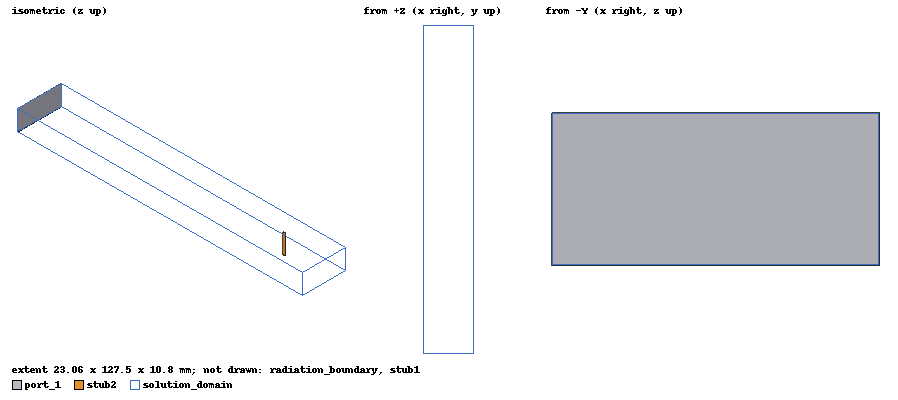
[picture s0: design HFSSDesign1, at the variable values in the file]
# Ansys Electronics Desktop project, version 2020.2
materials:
  vacuum: permittivity=1
  copper: permeability=0.999991 conductivity=58000000
  pec: conductivity=1e+30

design HFSSDesign1 (HFSS, DrivenModal, model units mm)
options: Allow_Material_Override
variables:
  w2 = 0.0106
  w = 0.02286
  t = 0.0001
  l = 0.04
  i = 0.0023
  a = 0.041
  w3 = 0.0419
  w4 = 0.044
  b = 2
  l2 = 0.150-((l+2*t)/2+t/2)
  q = 0.007
  d = -0.017  # tune -0.02496..-0.00832
  dist = 0  # tune 0.0005..0.0015
  q2 = q-dist
  d2 = d-dist
  q1 = 0.00225  # tune 0.00225..0.00675
  q11 = 0.0015  # tune 0.0005..0.0015
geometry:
  Box1 = box(corner=(-w/2-t, -l/2-t-l2, -w2/2-t), size=(w+2*t, (l+2*t)/2+t/2+l2, w2+2*t))
  Box2 = box(corner=(-w/2, -l/2-t-l2, -w2/2), size=(w, l+2*t+l2, w2))
  Box1.subtract(Box2)
  iris_up = box(corner=(-w/2, -t/2, w2/2-i), size=(w, t, i))
  iris_down = box(corner=(-w/2, -t/2, -w2/2), size=(w, t, i))
  solution_domain [vacuum] = box(corner=(-w/2, -l/2-t-l2, -w2/2), size=(w, (l/2+t)+(t/2+t)+l2, w2))
  port_1 [pec] = box(corner=(-w/2-t, -l/2-t-t-l2, -w2/2-t), size=(w+2*t, t, w2+2*t))
  outer_flenge = box(corner=(-w3/2, t/2, -w4/2), size=(w3, t, w4))
  inner_flenge = box(corner=(-w/2, t/2, -(w2-2*i)/2), size=(w, t, w2-2*i))
  outer_flenge.subtract(inner_flenge)
  iris_down.unite(Box1, iris_up, outer_flenge)
  radiation_boundary [vacuum] = box(corner=((-w3/2-3*t)*b, (-w3/2)*b-l2, (-w4/2-3*t)*(b+1)), size=(b*(w3+6*t), b*w3+l2, (b+1)*(w4+6*t)))
  stub1 = box(corner=(-w/2+w/2.5, d-q1, -w2/2), size=(t, q1, w2))
  stub1.unite(iris_down)
  stub2 [copper] = box(corner=(-w/2+w/2.5, d2-q, -w2/2), size=(t, q11, w2))
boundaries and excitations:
  Rad1: Radiation Objects=radiation_boundary
  1: Wave Port Faces=port_1.face(+y) NumModes=1 DeembedDist=l/2+t+l2-t/2 Modes{Mode1{CharImp=Zpi}}
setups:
  Setup1: HfssDriven Frequency=12GHz MaxDeltaS=0.02 MaximumPasses=50 MinimumPasses=5 MinimumConvergedPasses=3 PercentRefinement=10 BasisOrder=1 PortAccuracy=2
    sweep Sweep: 8GHz to 12GHz, 41 points; Type=Fast SaveFields
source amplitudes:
  1:1: 1W 0deg
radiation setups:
  Infinite Sphere1: Infinite Sphere Theta=0deg..180deg step 2deg Phi=-180deg..180deg step 2deg
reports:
  S Parameter Plot 1: dB(S(1,1)) vs Freq on Setup1 : Sweep [q=0.001 d=all dist=all q1=all q11=all]
  Realized Gain Plot 1: dB(RealizedGainTotal) vs Theta on Setup1 : LastAdaptive, Infinite Sphere1 [Phi=90deg Freq=12GHz i=0.0023 b=2]
  Realized Gain Plot 2: dB(RealizedGainTotal) vs Phi on Setup1 : LastAdaptive, Infinite Sphere1 [Theta=90deg Freq=12GHz i=0.0023 b=2]
  S Parameter Chart 1: S(1,1) on Setup1 : Sweep [Freq=all]; markers m1 at 10GHz
  S Parameter Plot 2: dB(S(1,1)) vs Freq on Setup1 : Sweep [q=all]
